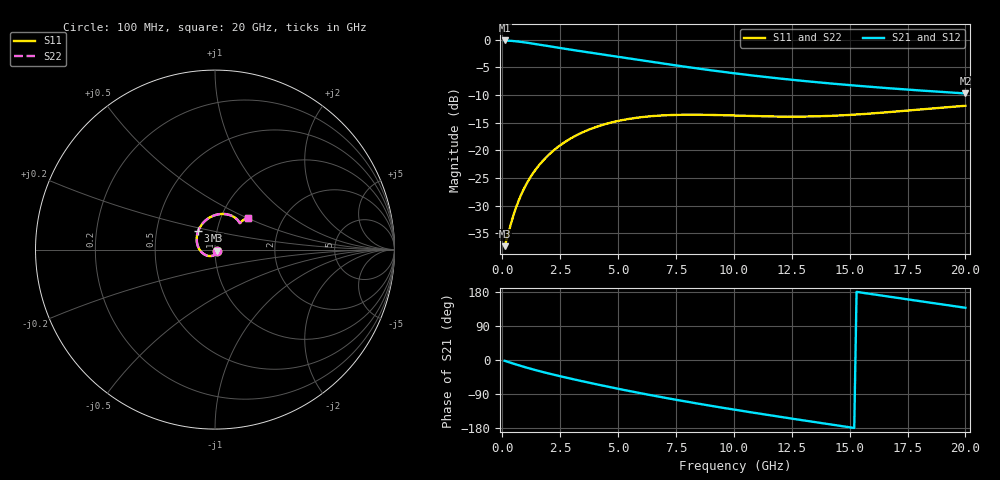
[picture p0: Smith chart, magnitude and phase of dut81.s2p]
! Touchstone file exported from HFSS 2023.1.0
!  File:  D:/Users/fzz/RDL_TSV/temp_RDL_TSV_81_1778747643.aedt
!  Generated:  4:42:40 %x4E0B%x5348  5%x6708 14, 2026
!  Design:  RDL_TSV
!  Project:  temp_RDL_TSV_81_1778747643
!  Setup:  Setup1
!  Solution:  Sweep
! Variables:
!  dtsv = 16.21um
!  hbump = 3um
!  htsv = 70.44um
!  ldown = 276.83um
!  lrdl = 571.82um
!  p = 40
!  p1 = 46.3um
!  rhole = 10um
!  subl = 3117.77um
!  t = 450um
!  tdown = 4.34um
!  trdl = 3.86um
!  viad = 10um
!  wdown = 13.6um
!  wrdl = 28.16um
!  xbump = 18um
# GHz S MA R 50.000000
! Terminal data exported
! Port[1] = TM1_1_T1
! Port[2] = TM1_4_T1
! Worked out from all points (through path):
!   200 points, 100 MHz to 20 GHz, reference 50 ohm
!   highest |S21| = -0.12 dB at 100 MHz (marker M1); lowest = -9.7 dB at 20 GHz (marker M2)
!   group delay of S21, straight-line fit = 29.2 ps
!   lowest |S11| = -37.3 dB at 100 MHz (marker M3), VSWR 1.03, Z = 51.3 - j0.52 ohm
!   |S11| at or under -10 dB: start of sweep to end of sweep
!   |S22| runs from -37.3 to -11.9 dB; largest |S21 - S12| = 2.2e-14
!   S11 on the Smith chart (normalised r, x): 100 MHz: 1.03, -0.01; 3.3 GHz: 0.81, +0.17; 20 GHz: 1.34, +0.50
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0.1  0.01365 -21.8  0.9863 -2.1  0.9863 -2.1  0.01365 -21.8
! Gamma 0 0 0 0
! Port Impedance 50 0 50 0
0.5  0.02667 -88.5  0.9732 -10.0  0.9732 -10.0  0.02668 -88.5
0.7  0.03493 -108.2  0.9633 -13.8  0.9633 -13.8  0.03494 -108.2
1  0.04788 -131.5  0.9453 -19.2  0.9453 -19.2  0.04789 -131.5
1.3  0.06103 -150.5  0.9248 -24.4  0.9248 -24.4  0.06104 -150.5
1.7  0.07842 -171.6  0.8965 -30.9  0.8965 -30.9  0.07841 -171.6
2.2  0.09938 166.7  0.8619 -38.5  0.8619 -38.5  0.09936 166.8
2.7  0.119 149.1  0.8296 -45.7  0.8296 -45.7  0.119 149.1
3.3  0.1404 131.6  0.7936 -53.9  0.7936 -53.9  0.1403 131.7
3.5  0.1468 126.5  0.7822 -56.6  0.7822 -56.6  0.1467 126.6
4.2  0.167 111.0  0.7436 -65.8  0.7436 -65.8  0.1668 111.0
5  0.1848 96.5  0.7019 -75.9  0.7019 -75.9  0.1846 96.5
5.8  0.1974 84.7  0.6624 -85.6  0.6624 -85.6  0.1972 84.8
6.8  0.2067 73.0  0.6164 -97.2  0.6164 -97.2  0.2063 73.1
8.4  0.2103 59.6  0.5519 -114.6  0.5519 -114.6  0.21 59.8
10.1  0.2067 51.2  0.4957 -131.8  0.4957 -131.8  0.2063 51.4
11.7  0.2027 47.5  0.4533 -147.2  0.4533 -147.2  0.2024 47.8
13.4  0.203 46.5  0.4171 -163.0  0.4171 -163.0  0.2029 46.8
15  0.2094 46.6  0.3894 -177.5  0.3894 -177.5  0.2094 47.0
16.7  0.2221 46.5  0.3649 167.2  0.3649 167.2  0.2223 46.9
18.4  0.238 45.4  0.3443 152.0  0.3443 152.0  0.2385 45.8
20  0.2533 43.4  0.3275 137.8  0.3275 137.8  0.254 43.8
